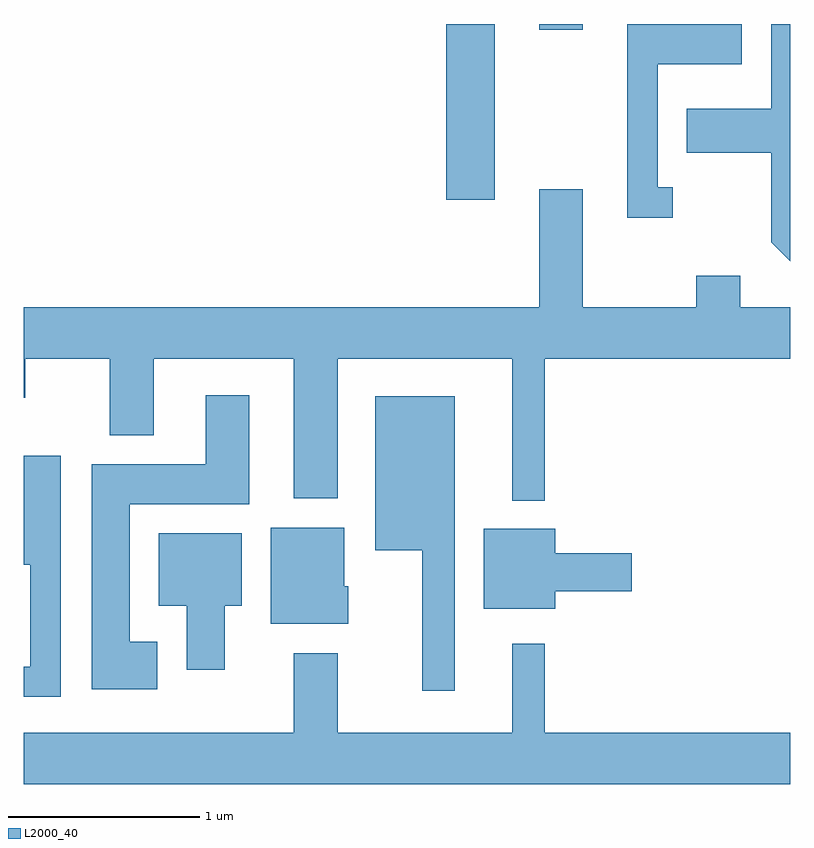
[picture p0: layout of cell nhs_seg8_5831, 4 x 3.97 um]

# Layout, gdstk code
import gdstk
lib = gdstk.Library(unit=1e-6, precision=1e-09)
def R(c, l, rs):  # rectangles x0, y0, x1, y1
    for r in rs: c.add(gdstk.rectangle(r[:2], r[2:], *l))
def P(c, l, *ps):  # polygons
    for p in ps: c.add(gdstk.Polygon(p, *l))
L2000_40 = (2000, 40)

nhs_seg8_5831 = lib.new_cell('nhs_seg8_5831')
R(nhs_seg8_5831, L2000_40, [(361.816,1879.426,362.069,1880.342), (362.301,1880.311,362.529,1880.342)])
P(nhs_seg8_5831, L2000_40, [(362.998,1879.489),(362.919,1879.489),(362.919,1880.131),(363.359,1880.131),(363.359,1880.342),(362.761,1880.342),(362.761,1879.331),(362.998,1879.331)],
  [(363.611,1880.342),(363.511,1880.342),(363.511,1879.899),(363.071,1879.899),(363.071,1879.671),(363.511,1879.671),(363.511,1879.204),(363.611,1879.104)],
  [(362.329,1878.596),(363.611,1878.596),(363.611,1878.864),(363.349,1878.864),(363.349,1879.029),(363.121,1879.029),(363.121,1878.864),(362.529,1878.864),(362.529,1879.479),(362.301,1879.479),(362.301,1878.864),(359.611,1878.864),(359.611,1878.391),(359.619,1878.391),(359.619,1878.596),(360.061,1878.596),(360.061,1878.196),(360.289,1878.196),(360.289,1878.596),(361.021,1878.596),(361.021,1877.866),(361.249,1877.866),(361.249,1878.596),(362.161,1878.596),(362.161,1877.853),(362.329,1877.853)],
  [(360.309,1877.119),(360.164,1877.119),(360.164,1877.836),(360.789,1877.836),(360.789,1878.404),(360.561,1878.404),(360.561,1878.044),(359.966,1878.044),(359.966,1876.871),(360.309,1876.871)],
  [(361.859,1878.399),(361.446,1878.399),(361.446,1877.596),(361.691,1877.596),(361.691,1876.863),(361.859,1876.863)],
  [(359.804,1878.089),(359.611,1878.089),(359.611,1877.521),(359.646,1877.521),(359.646,1876.989),(359.611,1876.989),(359.611,1876.831),(359.804,1876.831)],
  [(361.304,1877.409),(361.284,1877.409),(361.284,1877.714),(360.901,1877.714),(360.901,1877.211),(361.304,1877.211)],
  [(362.384,1877.381),(362.784,1877.381),(362.784,1877.579),(362.384,1877.579),(362.384,1877.709),(362.011,1877.709),(362.011,1877.291),(362.384,1877.291)],
  [(360.659,1877.306),(360.749,1877.306),(360.749,1877.684),(360.316,1877.684),(360.316,1877.306),(360.461,1877.306),(360.461,1876.971),(360.659,1876.971)],
  [(363.611,1876.644),(362.329,1876.644),(362.329,1877.108),(362.161,1877.108),(362.161,1876.644),(361.249,1876.644),(361.249,1877.059),(361.021,1877.059),(361.021,1876.644),(359.611,1876.644),(359.611,1876.376),(363.611,1876.376)])

lib.write_gds('nhs_seg8_5831.gds')
